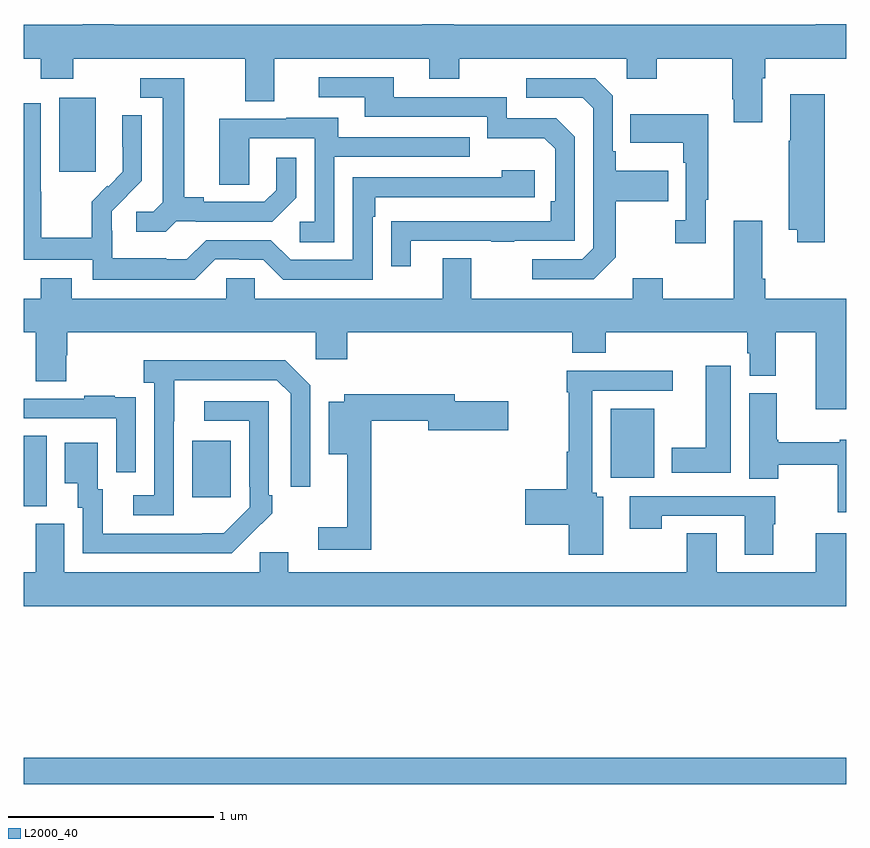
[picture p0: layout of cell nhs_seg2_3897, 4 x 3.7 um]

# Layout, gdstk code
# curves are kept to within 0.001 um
import gdstk
lib = gdstk.Library(unit=1e-6, precision=1e-09)
def R(c, l, rs):  # rectangles x0, y0, x1, y1
    for r in rs: c.add(gdstk.rectangle(r[:2], r[2:], *l))
def P(c, l, *ps):  # polygons
    for p in ps: c.add(gdstk.Polygon(p, *l))
L2000_40 = (2000, 40)

nhs_seg2_3897 = lib.new_cell('nhs_seg2_3897')
R(nhs_seg2_3897, L2000_40, [(317,648.102,321,648.23), (317,649.453,317.11,649.796), (317.819,649.497,318.007,649.771), (319.856,649.592,320.068,649.927), (317.171,651.081,317.35,651.442)])
P(nhs_seg2_3897, L2000_40, [(317.436,651.8),(317.285,651.8),(317.285,651.796),(317,651.796),(317,651.632),(317.081,651.632),(317.081,651.533),(317.241,651.533),(317.241,651.632),(318.077,651.632),(318.077,651.424),(318.217,651.424),(318.217,651.632),(318.971,651.632),(318.971,651.533),(319.119,651.533),(319.119,651.632),(319.932,651.632),(319.932,651.533),(320.079,651.533),(320.079,651.632),(320.446,651.632),(320.446,651.433),(320.453,651.433),(320.453,651.321),(320.593,651.321),(320.593,651.536),(320.606,651.536),(320.606,651.632),(321,651.632),(321,651.8),(320.852,651.8),(320.852,651.796),(319.091,651.796),(319.091,651.8),(318.938,651.8),(318.938,651.796),(317.436,651.796)],
  [(318.883,650.745),(319.273,650.745),(319.273,650.74),(319.385,650.74),(319.385,650.745),(319.68,650.745),(319.68,651.252),(319.59,651.342),(319.35,651.342),(319.35,651.444),(318.799,651.444),(318.799,651.54),(318.435,651.54),(318.435,651.444),(318.659,651.444),(318.659,651.348),(319.254,651.348),(319.254,651.245),(319.531,651.245),(319.584,651.192),(319.584,650.938),(319.564,650.938),(319.564,650.841),(318.787,650.84),(318.787,650.622),(318.883,650.622)],
  [(319.879,650.665),(319.879,650.938),(320.135,650.938),(320.135,651.085),(319.879,651.085),(319.879,651.181),(319.866,651.181),(319.866,651.45),(319.779,651.537),(319.443,651.537),(319.443,651.441),(319.719,651.441),(319.77,651.39),(319.77,650.709),(319.716,650.655),(319.473,650.655),(319.473,650.559),(319.773,650.559)],
  [(317.742,650.841),(317.836,650.841),(317.836,650.838),(318.208,650.838),(318.324,650.954),(318.324,651.148),(318.227,651.148),(318.227,650.991),(318.17,650.934),(317.875,650.934),(317.875,650.957),(317.779,650.957),(317.779,651.537),(317.565,651.537),(317.565,651.441),(317.675,651.441),(317.675,650.933),(317.628,650.886),(317.547,650.886),(317.547,650.789),(317.69,650.789)],
  [(320.897,651.457),(320.729,651.457),(320.729,651.233),(320.722,651.233),(320.722,650.798),(320.762,650.798),(320.762,650.739),(320.897,650.739)],
  [(317.931,650.655),(318.047,650.655),(318.047,650.652),(318.165,650.652),(318.261,650.556),(318.696,650.556),(318.696,650.861),(318.709,650.861),(318.709,650.958),(319.486,650.958),(319.486,651.088),(319.325,651.088),(319.325,651.054),(318.6,651.054),(318.6,650.652),(318.297,650.652),(318.201,650.748),(317.886,650.748),(317.793,650.655),(317.693,650.655),(317.693,650.659),(317.43,650.659),(317.43,650.793),(317.428,650.793),(317.428,650.89),(317.574,651.038),(317.574,651.356),(317.478,651.356),(317.478,651.202),(317.48,651.202),(317.48,651.08),(317.409,651.009),(317.406,651.012),(317.329,650.935),(317.329,650.761),(317.085,650.761),(317.085,650.984),(317.082,650.984),(317.082,651.414),(317,651.414),(317,650.652),(317.334,650.652),(317.334,650.555),(317.831,650.555)],
  [(320.317,650.945),(320.329,650.945),(320.329,651.361),(319.951,651.361),(319.951,651.221),(320.208,651.221),(320.208,651.125),(320.22,651.125),(320.22,650.846),(320.169,650.846),(320.169,650.733),(320.317,650.733)],
  [(318.51,651.153),(319.169,651.153),(319.169,651.249),(318.529,651.249),(318.529,651.343),(318.275,651.343),(318.275,651.339),(317.951,651.339),(317.951,651.019),(318.096,651.019),(318.096,651.243),(318.414,651.243),(318.414,650.838),(318.342,650.838),(318.342,650.737),(318.51,650.737)],
  [(321,650.464),(320.606,650.464),(320.606,650.56),(320.593,650.56),(320.593,650.842),(320.453,650.842),(320.453,650.464),(320.109,650.464),(320.109,650.563),(319.961,650.563),(319.961,650.464),(319.177,650.464),(319.177,650.659),(319.037,650.659),(319.037,650.464),(318.123,650.464),(318.123,650.562),(317.985,650.562),(317.985,650.464),(317.233,650.464),(317.233,650.563),(317.081,650.563),(317.081,650.464),(317,650.464),(317,650.3),(317.057,650.3),(317.057,650.062),(317.205,650.062),(317.205,650.187),(317.21,650.187),(317.21,650.3),(318.42,650.3),(318.42,650.169),(318.572,650.169),(318.572,650.3),(319.667,650.3),(319.667,650.201),(319.832,650.201),(319.832,650.3),(320.519,650.3),(320.519,650.199),(320.531,650.199),(320.531,650.089),(320.659,650.089),(320.659,650.3),(320.852,650.3),(320.852,649.926),(321,649.926)],
  [(317.73,649.867),(317.731,650.067),(318.231,650.067),(318.297,650.001),(318.297,649.548),(318.393,649.548),(318.393,650.043),(318.272,650.164),(317.583,650.164),(317.583,650.054),(317.634,650.054),(317.634,649.506),(317.532,649.506),(317.532,649.41),(317.73,649.41)],
  [(320.44,650.137),(320.318,650.137),(320.318,649.738),(320.153,649.738),(320.153,649.616),(320.44,649.616)],
  [(319.819,649.5),(319.788,649.5),(319.788,649.518),(319.765,649.518),(319.765,650.016),(320.158,650.016),(320.158,650.114),(319.64,650.114),(319.64,650.009),(319.652,650.009),(319.652,649.718),(319.64,649.718),(319.64,649.535),(319.44,649.535),(319.44,649.364),(319.652,649.364),(319.652,649.218),(319.819,649.218)],
  [(321,649.777),(320.97,649.777),(320.97,649.765),(320.67,649.765),(320.67,649.777),(320.662,649.777),(320.662,650.004),(320.528,650.004),(320.528,649.588),(320.67,649.588),(320.67,649.656),(320.959,649.656),(320.959,649.425),(321,649.425)],
  [(318.689,649.87),(318.968,649.87),(318.968,649.823),(319.357,649.823),(319.357,649.965),(319.096,649.965),(319.096,649.999),(318.558,649.999),(318.558,649.963),(318.482,649.963),(318.482,649.706),(318.572,649.706),(318.572,649.351),(318.432,649.351),(318.432,649.242),(318.689,649.242)],
  [(317.544,649.874),(317.543,649.874),(317.543,649.983),(317.441,649.983),(317.441,649.99),(317.293,649.99),(317.293,649.977),(317,649.977),(317,649.881),(317.448,649.881),(317.448,649.62),(317.544,649.62)],
  [(318.101,649.315),(318.102,649.314),(318.207,649.419),(318.207,649.507),(318.192,649.507),(318.192,649.965),(317.877,649.965),(317.877,649.869),(318.096,649.869),(318.096,649.549),(318.099,649.549),(318.099,649.449),(317.971,649.321),(317.383,649.32),(317.383,649.536),(317.359,649.536),(317.359,649.762),(317.198,649.762),(317.198,649.565),(317.261,649.565),(317.261,649.446),(317.286,649.446),(317.286,649.224),(318.01,649.224)],
  [(320.647,649.365),(320.655,649.365),(320.655,649.503),(319.947,649.503),(319.947,649.344),(320.103,649.344),(320.103,649.407),(320.507,649.407),(320.507,649.218),(320.647,649.218)],
  [(321,649.321),(320.852,649.321),(320.852,649.132),(320.371,649.132),(320.371,649.322),(320.224,649.322),(320.224,649.132),(318.286,649.132),(318.286,649.23),(318.147,649.23),(318.147,649.132),(317.197,649.132),(317.197,649.368),(317.057,649.368),(317.057,649.132),(317,649.132),(317,648.968),(321,648.968)])

lib.write_gds('nhs_seg2_3897.gds')
